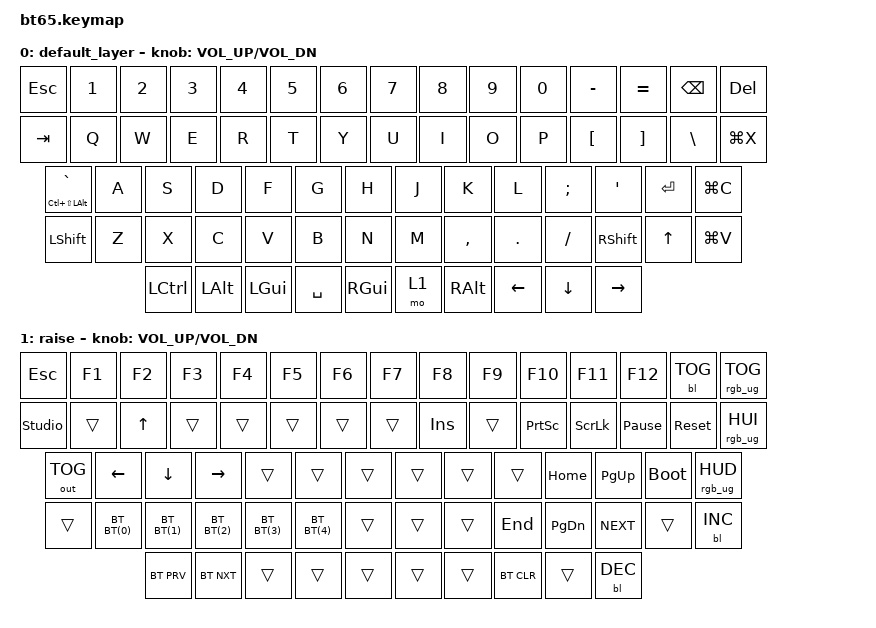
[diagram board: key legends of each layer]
#include <behaviors.dtsi>
#include <dt-bindings/zmk/keys.h>
#include <dt-bindings/zmk/bt.h>
#include <dt-bindings/zmk/rgb.h>
#include <dt-bindings/zmk/backlight.h>
#include <dt-bindings/zmk/ext_power.h>
#include <dt-bindings/zmk/outputs.h>

#define BT(n) BT_SEL n

/ {
	keymap {
		compatible = "zmk,keymap";

		default_layer {
				// ------------------------------------------------------------------------------------------------------------
				// | ESC  |  1  |  2  |  3  |  4  |  5  |  6  |  7  |  8  |  9  |  0  |  -  |  =  |BKSP | DEL		|
				// | TAB   |  Q  |  W  |  E  |  R  |  T  |  Y  |  U  |  I  |  O  |  P  |  [  |  ]  |   \    | CUT		|
				// | `/~/MEH |  A  |  S  |  D  |  F  |  G  |  H  |  J  |  K  |  L  |  ;  |  '  |     ENTER    |COPY	|
				// | SHIFT    |  Z  |  X  |  C  |  V  |  B  |  N  |  M  |  ,  |  .  | /   |   SHIFT  | UP   | PASTE|
				// |  CTL  |  ALT  |  CMD  |                SPACE            | CMD | 1    |  ALT| LEFT |  DOWN    | RIGHT	|
				// ------------------------------------------------------------------------------------------------------------
			bindings = <

				&kp ESC &kp N1 &kp N2 &kp N3 &kp N4 &kp N5 &kp N6 &kp N7 &kp  N8   &kp  N9   &kp N0 &kp MINUS &kp EQUAL &kp BKSP &kp DEL
				&kp TAB  &kp Q  &kp W  &kp E  &kp R  &kp T  &kp Y  &kp U  &kp  I    &kp  O  &kp  P   &kp LBKT &kp RBKT  	&kp BSLH &kp LG(X)
				&mt LC(LS(LALT)) GRAVE   &kp A  &kp S  &kp D  &kp F  &kp G  &kp H  &kp J  &kp  K    &kp  L  &kp SEMI &kp SQT           	&kp RET &kp LG(C)
				&kp LSHFT  &kp Z  &kp X  &kp C  &kp V  &kp B  &kp N  &kp M  &kp COMMA &kp DOT &kp FSLH   &kp RSHFT &kp UP &kp LG(V)
				&kp LCTRL &kp LALT &kp LGUI            &kp SPACE                          &kp RGUI  &mo 1 &kp RALT &kp LEFT &kp DOWN &kp RIGHT
			>;
			sensor-bindings = <&inc_dec_kp C_VOL_UP C_VOL_DN>;
		};
		raise {
			bindings = <
				&kp ESC &kp F1 &kp F2 &kp F3 &kp F4 &kp F5 &kp F6 &kp F7 &kp  F8   &kp  F9   &kp F10  &kp F11 &kp F12 &bl BL_TOG &rgb_ug RGB_TOG
				&studio_unlock &trans &kp UP &trans &trans &trans &trans &trans &kp INS &trans &kp PSCRN &kp SLCK &kp PAUSE_BREAK &sys_reset &rgb_ug RGB_HUI
				&out OUT_TOG  &kp LEFT &kp DOWN &kp RIGHT &trans &trans &trans &trans &trans &trans &kp HOME  &kp PG_UP   &bootloader &rgb_ug RGB_HUD
				&trans &bt BT(0)  &bt BT(1)  &bt BT(2)  &bt BT(3)   &bt BT(4) &trans &trans &trans &kp END &kp PG_DN  &kp C_NEXT &trans &bl BL_INC
				&bt BT_PRV &bt BT_NXT  &trans              &trans                            &trans   &trans   &trans &bt BT_CLR &trans &bl BL_DEC
			>;
			sensor-bindings = <&inc_dec_kp C_VOL_UP C_VOL_DN>;
		};
	};
};
